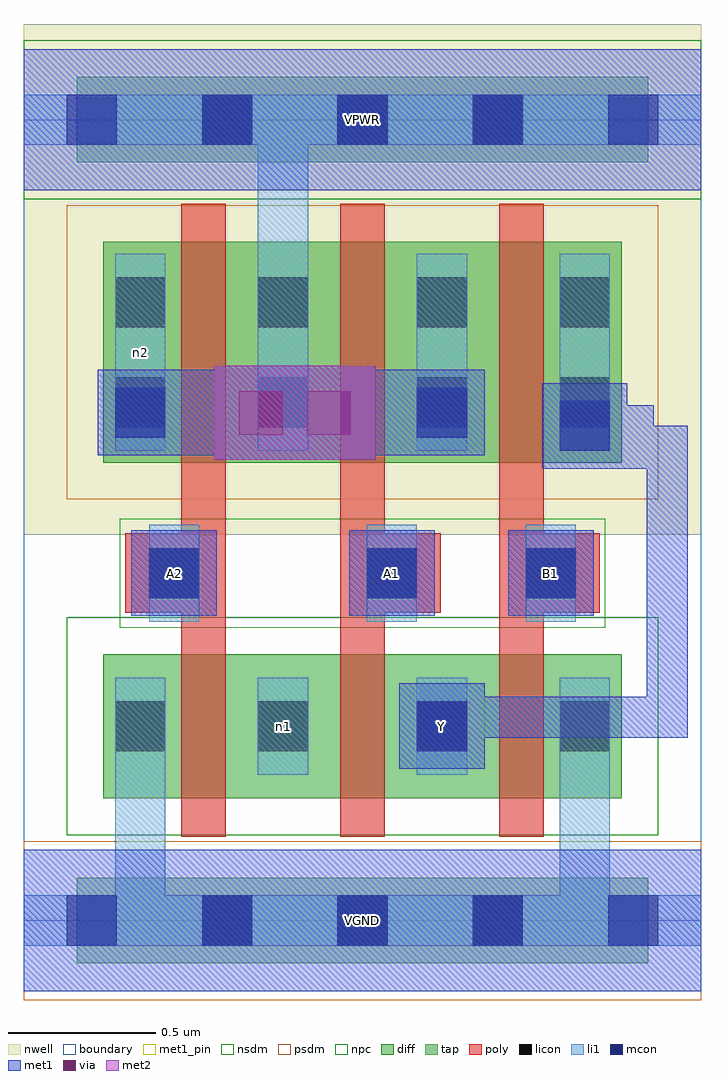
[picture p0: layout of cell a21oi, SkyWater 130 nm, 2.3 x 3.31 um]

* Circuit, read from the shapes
.subckt a21oi A1 A2 B1 VGND VPWR Y n1 n2
XM1 n1 A2 VGND VGND sky130_fd_pr__nfet_01v8 w=0.49 l=0.15
XM2 Y A1 n1 VGND sky130_fd_pr__nfet_01v8 w=0.49 l=0.15
XM3 VGND B1 Y VGND sky130_fd_pr__nfet_01v8 w=0.49 l=0.15
XM4 VPWR A2 n2 VPWR sky130_fd_pr__pfet_01v8 w=0.75 l=0.15
XM5 n2 A1 VPWR VPWR sky130_fd_pr__pfet_01v8 w=0.75 l=0.15
XM6 Y B1 n2 VPWR sky130_fd_pr__pfet_01v8 w=0.75 l=0.15
.ends

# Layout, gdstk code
import gdstk
lib = gdstk.Library(unit=1e-6, precision=1e-09)
def R(c, l, rs):  # rectangles x0, y0, x1, y1
    for r in rs: c.add(gdstk.rectangle(r[:2], r[2:], *l))
def A(c, l, x, y, w, h, nx, ny, dx, dy):  # array of equal rectangles
    R(c, l, [(x+i*dx, y+j*dy, x+i*dx+w, y+j*dy+h) for i in range(nx) for j in range(ny)])
nwell = (64, 20)
diff = (65, 20)
tap = (65, 44)
poly = (66, 20)
licon = (66, 44)
li1 = (67, 20)
mcon = (67, 44)
met1_pin = (68, 16)
met1 = (68, 20)
via = (68, 44)
met2 = (69, 20)
nsdm = (93, 44)
psdm = (94, 20)
npc = (95, 20)
boundary = (235, 4)

a21oi = lib.new_cell('a21oi')
R(a21oi, nwell, [(0,1.31,2.3,3.045)])
R(a21oi, diff, [(0.27,0.415,2.03,0.905), (0.27,1.555,2.03,2.305)])
R(a21oi, tap, [(0.18,-0.145,2.12,0.145), (0.18,2.575,2.12,2.865)])
A(a21oi, poly, 0.535, 0.285, 0.15, 2.15, 3, 1, 0.54, 0)
R(a21oi, poly, [(0.345,1.045,0.675,1.315), (1.085,1.045,1.415,1.315), (1.625,1.045,1.955,1.315)])
A(a21oi, licon, 0.605, -0.085, 0.17, 0.17, 3, 2, 0.46, 2.72)
R(a21oi, licon, [(0.31,0.575,0.48,0.745), (0.795,0.575,0.965,0.745), (1.335,0.575,1.505,0.745), (1.82,0.575,1.99,0.745), (0.425,1.095,0.595,1.265), (1.165,1.095,1.335,1.265), (1.705,1.095,1.875,1.265), (0.31,1.675,0.48,1.845), (0.795,1.675,0.965,1.845), (1.335,1.675,1.505,1.845), (1.82,1.675,1.99,1.845), (0.31,2.015,0.48,2.185), (0.795,2.015,0.965,2.185), (1.335,2.015,1.505,2.185), (1.82,2.015,1.99,2.185)])
R(a21oi, li1, [(0,-0.085,2.3,0.085), (0.31,-0.085,0.48,0.825), (1.82,-0.085,1.99,0.825), (0.31,0.495,0.48,0.825), (0.795,0.495,0.965,0.825), (1.335,0.495,1.505,0.825), (1.82,0.495,1.99,0.825), (0.425,1.015,0.595,1.345), (1.165,1.015,1.335,1.345), (1.705,1.015,1.875,1.345), (0.31,1.595,0.48,2.265), (0.795,1.595,0.965,2.265), (0.795,1.595,0.965,2.805), (1.335,1.595,1.505,2.265), (1.82,1.595,1.99,2.265), (0,2.635,2.3,2.805)])
A(a21oi, mcon, 0.145, -0.085, 0.17, 0.17, 5, 2, 0.46, 2.72)
R(a21oi, mcon, [(1.335,0.575,1.505,0.745), (0.425,1.095,0.595,1.265), (1.165,1.095,1.335,1.265), (1.705,1.095,1.875,1.265), (1.82,1.595,1.99,1.765), (0.31,1.64,0.48,1.81), (1.335,1.64,1.505,1.81)])
R(a21oi, met1_pin, [(0,-0.24,2.3,0.24), (1.275,0.515,1.565,0.805), (0.365,1.035,0.655,1.325), (1.105,1.035,1.395,1.325), (1.645,1.035,1.935,1.325), (0,2.48,2.3,2.96)])
R(a21oi, met1, [(0,-0.24,2.3,0.24), (1.275,0.515,1.565,0.805), (1.425,0.62,1.565,0.76), (1.425,0.62,2.255,0.76), (2.115,0.62,2.255,1.68), (0.365,1.035,0.655,1.325), (1.105,1.035,1.395,1.325), (1.645,1.035,1.935,1.325), (1.76,1.535,2.05,1.825), (2.05,1.535,2.115,1.68), (2,1.54,2.14,1.75), (2,1.54,2.255,1.68), (0.645,1.565,0.965,1.885), (0.875,1.565,1.195,1.885), (0.25,1.58,0.54,1.87), (0.54,1.58,0.645,1.87), (1.195,1.58,1.275,1.87), (1.275,1.58,1.565,1.87), (1.835,1.61,2.14,1.75), (0.325,1.655,0.645,1.795), (0.505,1.655,0.875,1.795), (0.965,1.655,1.335,1.795), (1.195,1.655,1.49,1.795), (0,2.48,2.3,2.96)])
R(a21oi, via, [(0.73,1.65,0.88,1.8), (0.96,1.65,1.11,1.8)])
R(a21oi, met2, [(0.645,1.565,0.965,1.885), (0.875,1.565,1.195,1.885), (0.735,1.655,1.105,1.795)])
R(a21oi, nsdm, [(0.145,0.29,2.155,1.03), (0,2.45,2.3,2.99)])
R(a21oi, psdm, [(0,-0.27,2.3,0.27), (0.145,1.43,2.155,2.43)])
R(a21oi, npc, [(0.325,0.995,1.975,1.365)])
R(a21oi, boundary, [(0,0,2.3,2.72)])
a21oi.add(gdstk.Label('n1', (0.88,0.66), layer=67, texttype=5))
a21oi.add(gdstk.Label('n2', (0.395,1.93), layer=67, texttype=5))
a21oi.add(gdstk.Label('A2', (0.51,1.18), layer=68, texttype=5))
a21oi.add(gdstk.Label('A1', (1.25,1.18), layer=68, texttype=5))
a21oi.add(gdstk.Label('B1', (1.79,1.18), layer=68, texttype=5))
a21oi.add(gdstk.Label('Y', (1.42,0.66), layer=68, texttype=5))
a21oi.add(gdstk.Label('VPWR', (1.15,2.72), layer=68, texttype=5))
a21oi.add(gdstk.Label('VGND', (1.15,0), layer=68, texttype=5))
a21oi.add(gdstk.Label('A2', (0.51,1.18), layer=68, texttype=16))
a21oi.add(gdstk.Label('A1', (1.25,1.18), layer=68, texttype=16))
a21oi.add(gdstk.Label('B1', (1.79,1.18), layer=68, texttype=16))
a21oi.add(gdstk.Label('Y', (1.42,0.66), layer=68, texttype=16))
a21oi.add(gdstk.Label('VPWR', (1.15,2.72), layer=68, texttype=16))
a21oi.add(gdstk.Label('VGND', (1.15,0), layer=68, texttype=16))

lib.write_gds('a21oi.gds')
